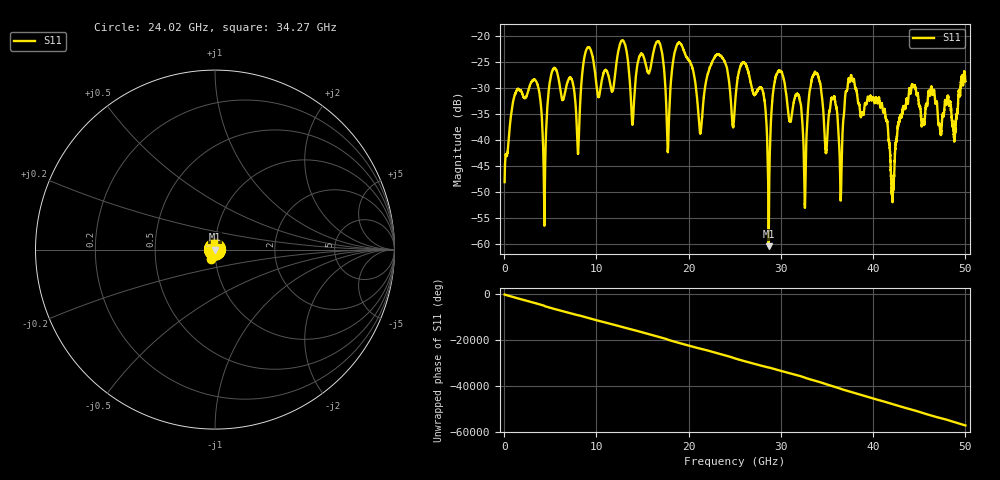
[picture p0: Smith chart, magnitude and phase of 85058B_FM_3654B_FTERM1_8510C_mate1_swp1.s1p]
!Created with skrf (http://scikit-rf.org).
# Hz S RI R 50.0
!freq ReS11 ImS11
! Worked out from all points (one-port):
!   10001 points, 45 MHz to 50 GHz, reference 50 ohm
!   lowest |S11| = -60.4 dB at 28.68 GHz (marker M1), VSWR 1.00, Z = 50.1 + j0.0315 ohm
!   |S11| at or under -10 dB: start of sweep to end of sweep
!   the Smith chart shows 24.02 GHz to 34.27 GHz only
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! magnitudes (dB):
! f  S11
! 45 MHz  -48.0
! 1.364 GHz  -30.4
! 3.522 GHz  -28.8
! 4.346 GHz  -54.7
! 5.17 GHz  -26.9
! 6.289 GHz  -32.1
! 7.993 GHz  -42.5
! 8.962 GHz  -22.4
! 12.53 GHz  -21.5
! 13.92 GHz  -36.9
! 16.78 GHz  -21.1
! 17.75 GHz  -42.2
! 18.78 GHz  -21.5
! 21.25 GHz  -38.7
! 23.06 GHz  -23.6
! 25.02 GHz  -33.1
! 27.9 GHz  -29.9
! 28.68 GHz  -60.4
! 29.61 GHz  -27.1
! 31.27 GHz  -34.0
! 32.61 GHz  -52.8
! 33.85 GHz  -27.2
! 36.47 GHz  -50.6
! 37.51 GHz  -28.5
! 41.09 GHz  -34.6
! 42.1 GHz  -51.9
! 43.76 GHz  -32.8
! 50 GHz  -28.7
